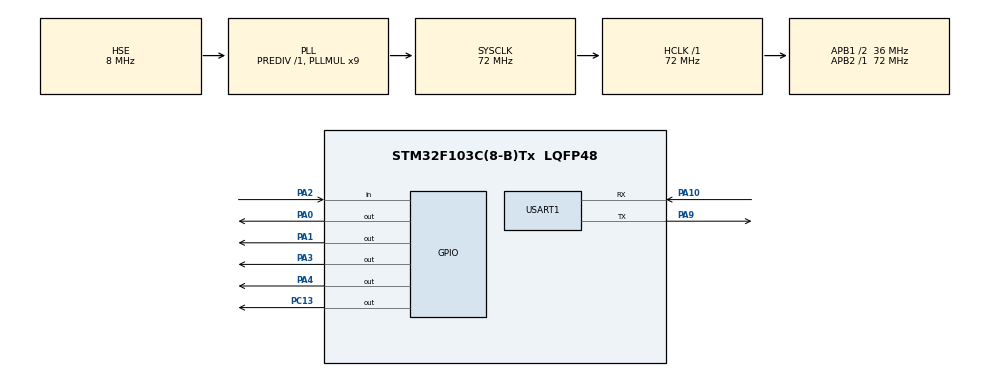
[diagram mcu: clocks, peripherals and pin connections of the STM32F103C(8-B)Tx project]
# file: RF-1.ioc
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Mcu.Family=STM32F1
Mcu.Name=STM32F103C(8-B)Tx
Mcu.Package=LQFP48
NVIC.PriorityGroup=NVIC_PRIORITYGROUP_4
NVIC.TIM4_IRQn=true\:0\:0\:false\:false\:true\:false
NVIC.TimeBase=TIM4_IRQn
NVIC.TimeBaseIP=TIM4
NVIC.USART1_IRQn=true\:0\:0\:false\:false\:true\:true
PA0-WKUP.GPIO_Speed=GPIO_SPEED_FREQ_HIGH
PA0-WKUP.Signal=GPIO_Output
PA1.GPIO_Speed=GPIO_SPEED_FREQ_HIGH
PA1.Signal=GPIO_Output
PA10.Mode=Asynchronous
PA10.Signal=USART1_RX
PA13.Mode=Serial_Wire
PA13.Signal=SYS_JTMS-SWDIO
PA14.Mode=Serial_Wire
PA14.Signal=SYS_JTCK-SWCLK
PA2.Signal=GPIO_Input
PA3.Signal=GPIO_Output
PA4.Signal=GPIO_Output
PA9.Mode=Asynchronous
PA9.Signal=USART1_TX
PC13-TAMPER-RTC.GPIO_Speed=GPIO_SPEED_FREQ_HIGH
PC13-TAMPER-RTC.Signal=GPIO_Output
PD0-OSC_IN.Mode=HSE-External-Oscillator
PD0-OSC_IN.Signal=RCC_OSC_IN
PD1-OSC_OUT.Mode=HSE-External-Oscillator
PD1-OSC_OUT.Signal=RCC_OSC_OUT
ProjectManager.HeapSize=0x200
ProjectManager.StackSize=0x400
ProjectManager.TargetToolchain=MDK-ARM V5
RCC.AHBFreq_Value=72000000
RCC.APB1CLKDivider=RCC_HCLK_DIV2
RCC.APB1Freq_Value=36000000
RCC.APB1TimFreq_Value=72000000
RCC.APB2Freq_Value=72000000
RCC.APB2TimFreq_Value=72000000
RCC.HCLKFreq_Value=72000000
RCC.PLLMUL=RCC_PLL_MUL9
RCC.PLLSourceVirtual=RCC_PLLSOURCE_HSE
RCC.SYSCLKFreq_VALUE=72000000
RCC.SYSCLKSource=RCC_SYSCLKSOURCE_PLLCLK
RCC.USBFreq_Value=72000000
USART1.VirtualMode=VM_ASYNC
VP_SYS_VS_tim4.Mode=TIM4
board=custom

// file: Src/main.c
/**
  ******************************************************************************
  * @file           : main.c
  * @brief          : Main program body
  ******************************************************************************
  ** This notice applies to any and all portions of this file
  * that are not between comment pairs USER CODE BEGIN and
  * USER CODE END. Other portions of this file, whether
  * inserted by the user or by software development tools
  * are owned by their respective copyright owners.
  *
  * COPYRIGHT(c) 2019 STMicroelectronics
  *
  * Redistribution and use in source and binary forms, with or without modification,
  * are permitted provided that the following conditions are met:
  *   1. Redistributions of source code must retain the above copyright notice,
  *      this list of conditions and the following disclaimer.
  *   2. Redistributions in binary form must reproduce the above copyright notice,
  *      this list of conditions and the following disclaimer in the documentation
  *      and/or other materials provided with the distribution.
  *   3. Neither the name of STMicroelectronics nor the names of its contributors
  *      may be used to endorse or promote products derived from this software
  *      without specific prior written permission.
  *
  * THIS SOFTWARE IS PROVIDED BY THE COPYRIGHT HOLDERS AND CONTRIBUTORS "AS IS"
  * AND ANY EXPRESS OR IMPLIED WARRANTIES, INCLUDING, BUT NOT LIMITED TO, THE
  * IMPLIED WARRANTIES OF MERCHANTABILITY AND FITNESS FOR A PARTICULAR PURPOSE ARE
  * DISCLAIMED. IN NO EVENT SHALL THE COPYRIGHT HOLDER OR CONTRIBUTORS BE LIABLE
  * FOR ANY DIRECT, INDIRECT, INCIDENTAL, SPECIAL, EXEMPLARY, OR CONSEQUENTIAL
  * DAMAGES (INCLUDING, BUT NOT LIMITED TO, PROCUREMENT OF SUBSTITUTE GOODS OR
  * SERVICES; LOSS OF USE, DATA, OR PROFITS; OR BUSINESS INTERRUPTION) HOWEVER
  * CAUSED AND ON ANY THEORY OF LIABILITY, WHETHER IN CONTRACT, STRICT LIABILITY,
  * OR TORT (INCLUDING NEGLIGENCE OR OTHERWISE) ARISING IN ANY WAY OUT OF THE USE
  * OF THIS SOFTWARE, EVEN IF ADVISED OF THE POSSIBILITY OF SUCH DAMAGE.
  *
  ******************************************************************************
  */
#include "main.h"
#include "stm32f1xx_hal.h"

/* USER CODE BEGIN Includes */
#include "nokia5110_LCD.h"
#include "string.h"

/* USER CODE END Includes */

UART_HandleTypeDef huart1;

/* USER CODE BEGIN PV */
/* Private variables ---------------------------------------------------------*/

/* USER CODE END PV */

void SystemClock_Config(void);
static void MX_GPIO_Init(void);
static void MX_USART1_UART_Init(void);

/* USER CODE BEGIN PFP */
/* Private function prototypes -----------------------------------------------*/

/* USER CODE END PFP */

/* USER CODE BEGIN 0 */

unsigned char data[1];
char t_str[30];

/* USER CODE END 0 */

int main(void)
{

  /* MCU Configuration----------------------------------------------------------*/

  /* Reset of all peripherals, Initializes the Flash interface and the Systick. */
  HAL_Init();

  /* Configure the system clock */
  SystemClock_Config();

  /* Initialize all configured peripherals */
  MX_GPIO_Init();
  MX_USART1_UART_Init();
  /* USER CODE BEGIN 2 */

	HAL_GPIO_WritePin(GPIOC,GPIO_PIN_13,GPIO_PIN_RESET);
		HAL_Delay(1000);
	HAL_GPIO_WritePin(GPIOC,GPIO_PIN_13,GPIO_PIN_SET);
		HAL_Delay(1000);

HAL_UART_Receive_IT(&huart1,data,1);

	LCD_setRST(GPIOA,GPIO_PIN_0);
	LCD_setCE(GPIOA,GPIO_PIN_1);
	LCD_setDC(GPIOA,GPIO_PIN_2);
	LCD_setDIN(GPIOA,GPIO_PIN_3);
	LCD_setCLK(GPIOA,GPIO_PIN_4);
	LCD_init();
  /* USER CODE END 2 */

  /* Infinite loop */
  while (1)
  {
	/* USER CODE BEGIN 3 */
	HAL_GPIO_WritePin(GPIOC,GPIO_PIN_13,GPIO_PIN_RESET);
		HAL_Delay(100);
	HAL_GPIO_WritePin(GPIOC,GPIO_PIN_13,GPIO_PIN_SET);
		HAL_Delay(100);

  }
  /* USER CODE END 3 */

}

void SystemClock_Config(void)
{

  RCC_OscInitTypeDef RCC_OscInitStruct;
  RCC_ClkInitTypeDef RCC_ClkInitStruct;

    /**Initializes the CPU, AHB and APB busses clocks
    */
  RCC_OscInitStruct.OscillatorType = RCC_OSCILLATORTYPE_HSE;
  RCC_OscInitStruct.HSEState = RCC_HSE_ON;
  RCC_OscInitStruct.HSEPredivValue = RCC_HSE_PREDIV_DIV1;
  RCC_OscInitStruct.HSIState = RCC_HSI_ON;
  RCC_OscInitStruct.PLL.PLLState = RCC_PLL_ON;
  RCC_OscInitStruct.PLL.PLLSource = RCC_PLLSOURCE_HSE;
  RCC_OscInitStruct.PLL.PLLMUL = RCC_PLL_MUL9;
  if (HAL_RCC_OscConfig(&RCC_OscInitStruct) != HAL_OK)
  {
    _Error_Handler(__FILE__, __LINE__);
  }

    /**Initializes the CPU, AHB and APB busses clocks
    */
  RCC_ClkInitStruct.ClockType = RCC_CLOCKTYPE_HCLK|RCC_CLOCKTYPE_SYSCLK
                              |RCC_CLOCKTYPE_PCLK1|RCC_CLOCKTYPE_PCLK2;
  RCC_ClkInitStruct.SYSCLKSource = RCC_SYSCLKSOURCE_PLLCLK;
  RCC_ClkInitStruct.AHBCLKDivider = RCC_SYSCLK_DIV1;
  RCC_ClkInitStruct.APB1CLKDivider = RCC_HCLK_DIV2;
  RCC_ClkInitStruct.APB2CLKDivider = RCC_HCLK_DIV1;

  if (HAL_RCC_ClockConfig(&RCC_ClkInitStruct, FLASH_LATENCY_2) != HAL_OK)
  {
    _Error_Handler(__FILE__, __LINE__);
  }

    /**Configure the Systick interrupt time
    */
  HAL_SYSTICK_Config(HAL_RCC_GetHCLKFreq()/1000);

    /**Configure the Systick
    */
  HAL_SYSTICK_CLKSourceConfig(SYSTICK_CLKSOURCE_HCLK);

  /* SysTick_IRQn interrupt configuration */
  HAL_NVIC_SetPriority(SysTick_IRQn, 0, 0);
}

/* USART1 init function */
static void MX_USART1_UART_Init(void)
{

  huart1.Instance = USART1;
  huart1.Init.BaudRate = 115200;
  huart1.Init.WordLength = UART_WORDLENGTH_8B;
  huart1.Init.StopBits = UART_STOPBITS_1;
  huart1.Init.Parity = UART_PARITY_NONE;
  huart1.Init.Mode = UART_MODE_TX_RX;
  huart1.Init.HwFlowCtl = UART_HWCONTROL_NONE;
  huart1.Init.OverSampling = UART_OVERSAMPLING_16;
  if (HAL_UART_Init(&huart1) != HAL_OK)
  {
    _Error_Handler(__FILE__, __LINE__);
  }

}

/** Configure pins as
        * Analog
        * Input
        * Output
        * EVENT_OUT
        * EXTI
*/
static void MX_GPIO_Init(void)
{

  GPIO_InitTypeDef GPIO_InitStruct;

  /* GPIO Ports Clock Enable */
  __HAL_RCC_GPIOC_CLK_ENABLE();
  __HAL_RCC_GPIOD_CLK_ENABLE();
  __HAL_RCC_GPIOA_CLK_ENABLE();

  /*Configure GPIO pin Output Level */
  HAL_GPIO_WritePin(GPIOC, GPIO_PIN_13, GPIO_PIN_RESET);

  /*Configure GPIO pin Output Level */
  HAL_GPIO_WritePin(GPIOA, GPIO_PIN_0|GPIO_PIN_1|GPIO_PIN_3|GPIO_PIN_4, GPIO_PIN_RESET);

  /*Configure GPIO pin : PC13 */
  GPIO_InitStruct.Pin = GPIO_PIN_13;
  GPIO_InitStruct.Mode = GPIO_MODE_OUTPUT_PP;
  GPIO_InitStruct.Pull = GPIO_NOPULL;
  GPIO_InitStruct.Speed = GPIO_SPEED_FREQ_HIGH;
  HAL_GPIO_Init(GPIOC, &GPIO_InitStruct);

  /*Configure GPIO pins : PA0 PA1 */
  GPIO_InitStruct.Pin = GPIO_PIN_0|GPIO_PIN_1;
  GPIO_InitStruct.Mode = GPIO_MODE_OUTPUT_PP;
  GPIO_InitStruct.Pull = GPIO_NOPULL;
  GPIO_InitStruct.Speed = GPIO_SPEED_FREQ_HIGH;
  HAL_GPIO_Init(GPIOA, &GPIO_InitStruct);

  /*Configure GPIO pin : PA2 */
  GPIO_InitStruct.Pin = GPIO_PIN_2;
  GPIO_InitStruct.Mode = GPIO_MODE_INPUT;
  GPIO_InitStruct.Pull = GPIO_NOPULL;
  HAL_GPIO_Init(GPIOA, &GPIO_InitStruct);

  /*Configure GPIO pins : PA3 PA4 */
  GPIO_InitStruct.Pin = GPIO_PIN_3|GPIO_PIN_4;
  GPIO_InitStruct.Mode = GPIO_MODE_OUTPUT_PP;
  GPIO_InitStruct.Pull = GPIO_NOPULL;
  GPIO_InitStruct.Speed = GPIO_SPEED_FREQ_LOW;
  HAL_GPIO_Init(GPIOA, &GPIO_InitStruct);

}

/* USER CODE BEGIN 4 */

void HAL_UART_RxCpltCallback(UART_HandleTypeDef *huart)
{

	sprintf(t_str, "--%c--\n",data[0]);
	HAL_UART_Transmit(&huart1,(unsigned char*)t_str,strlen(t_str),100);

	LCD_print("hee" , 0, 0);

	HAL_UART_Receive_IT(&huart1,data,1);

}

/* USER CODE END 4 */

void HAL_TIM_PeriodElapsedCallback(TIM_HandleTypeDef *htim)
{
  if (htim->Instance == TIM4) {
    HAL_IncTick();
  }
}

void _Error_Handler(char *file, int line)
{
  while(1)
  {
  }
}

/************************ (C) COPYRIGHT STMicroelectronics *****END OF FILE****/
